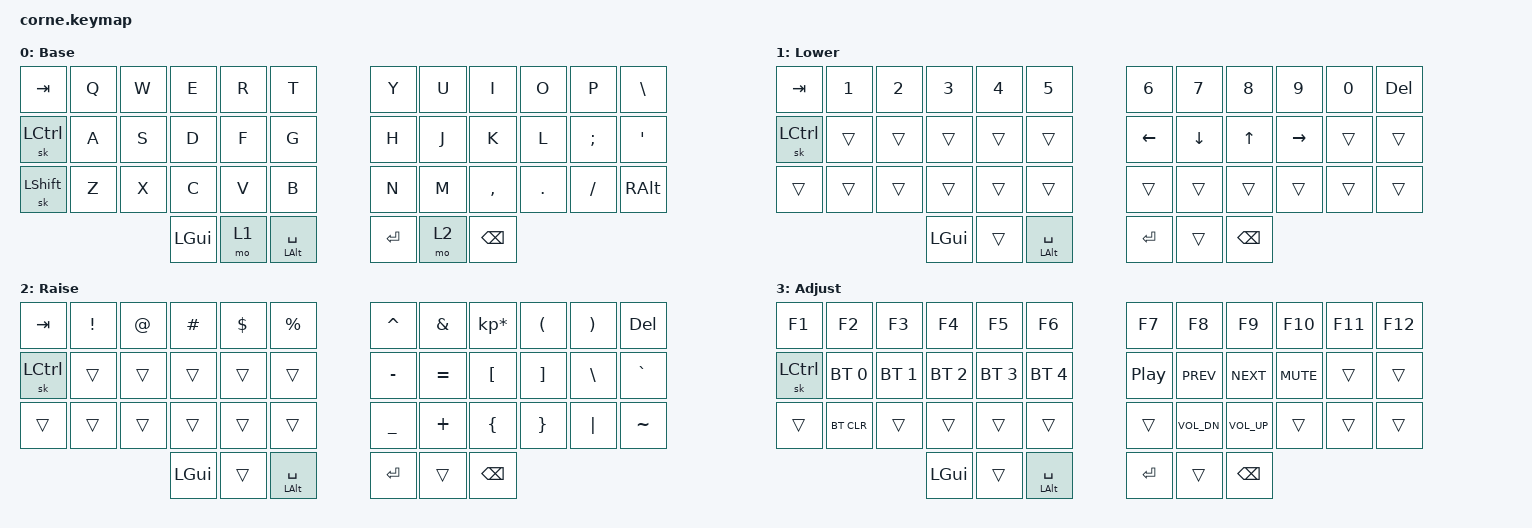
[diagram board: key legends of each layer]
/*
 * Copyright (c) 2020 The ZMK Contributors
 *
 * SPDX-License-Identifier: MIT
 */

#include <behaviors.dtsi>
#include <dt-bindings/zmk/keys.h>
#include <dt-bindings/zmk/bt.h>

/ {
        combos {
                compatible = "zmk,combos";
                timeout-ms = <50>;

                // Left side combos
                combo_lpar {
                        timeout-ms = <50>;
                        key-positions = <4 5>; // R + T
                        bindings = <&kp LPAR>;
                };

                combo_lbkt {
                        timeout-ms = <50>;
                        key-positions = <16 17>; // F + G
                        bindings = <&kp LBKT>;
                };

                combo_lbrace {
                        timeout-ms = <50>;
                        key-positions = <28 29>; // V + B
                        bindings = <&kp LBRC>;
                };

                // Right side combos
                combo_rpar {
                        timeout-ms = <50>;
                        key-positions = <6 7>; // Y + U
                        bindings = <&kp RPAR>;
                };

                combo_rbkt {
                        timeout-ms = <50>;
                        key-positions = <18 19>; // H + J
                        bindings = <&kp RBKT>;
                };

                combo_rbrace {
                        timeout-ms = <50>;
                        key-positions = <30 31>; // N + M
                        bindings = <&kp RBRC>;
                };

                combo_esc {
                        timeout-ms = <50>;
                        key-positions = <19 20>; // J + K
                        bindings = <&kp ESC>;
                };
        };

        keymap {
                compatible = "zmk,keymap";

                default_layer {
// -----------------------------------------------------------------------------------------
// |  TAB |  Q  |  W  |  E  |  R  |  T  |   |  Y  |  U   |  I  |  O  |  P  |  \   |
// | SK C |  A  |  S  |  D  |  F  |  G  |   |  H  |  J   |  K  |  L  |  ;  |  '   |
// | SHFT |  Z  |  X  |  C  |  V  |  B  |   |  N  |  M   |  ,  |  .  |  /  | RALT |
//                    | GUI | LWR | S/ALT |   | ENT | RSE  | BKSP|
                        display-name = "Base";
                        bindings = <
   &kp TAB   &kp Q &kp W &kp E &kp R &kp T   &kp Y &kp U  &kp I     &kp O   &kp P    &kp BSLH
   &sk LCTRL &kp A &kp S &kp D &kp F &kp G   &kp H &kp J  &kp K     &kp L   &kp SEMI &kp SQT
   &sk LSHFT &kp Z &kp X &kp C &kp V &kp B   &kp N &kp M  &kp COMMA &kp DOT &kp FSLH &kp RALT
             &kp LGUI &mo 1 &mt LALT SPACE   &kp RET &mo 2 &kp BSPC
                        >;
                };

                lower_layer {
// -----------------------------------------------------------------------------------------
// |  TAB |  1  |  2  |  3  |  4  |  5  |   |  6  |  7  |  8  |  9  |  0  | DEL  |
// | SK C |     |     |     |     |     |   | LFT | DWN |  UP | RGT |     |      |
// | SHFT |     |     |     |     |     |   |     |     |     |     |     |      |
//                    | GUI |     | S/ALT |   | ENT |     | BKSP|
                        display-name = "Lower";
                        bindings = <
   &kp TAB   &kp N1 &kp N2 &kp N3 &kp N4 &kp N5   &kp N6   &kp N7   &kp N8 &kp N9    &kp N0 &kp DEL
   &sk LCTRL &trans &trans &trans &trans &trans   &kp LEFT &kp DOWN &kp UP &kp RIGHT &trans &trans
   &trans    &trans &trans &trans &trans &trans   &trans   &trans   &trans &trans    &trans &trans
                          &kp LGUI &trans &mt LALT SPACE   &kp RET  &trans &kp BSPC
                        >;
                };

                raise_layer {
// -----------------------------------------------------------------------------------------
// |  TAB |  !  |  @  |  #  |  $  |  %  |   |  ^  |  &  |  * |  (  |  )  | DEL  |
// | SK C |     |     |     |     |     |   |  -  |  =  |  [  |  ]  |  \  |  `   |
// | SHFT |     |     |     |     |     |   |  _  |  +  |  {  |  }  | "|" |  ~   |
//                    | GUI |     | S/ALT |   | ENT |     | BKSP|
                        display-name = "Raise";
                        bindings = <
   &kp  TAB  &kp EXCL &kp AT &kp HASH &kp DLLR &kp PRCNT   &kp CARET &kp AMPS  &kp KP_MULTIPLY &kp LPAR &kp RPAR &kp DEL
   &sk LCTRL &trans   &trans &trans   &trans   &trans      &kp MINUS &kp EQUAL &kp LBKT        &kp RBKT &kp BSLH &kp GRAVE
   &trans    &trans   &trans &trans   &trans   &trans      &kp UNDER &kp PLUS  &kp LBRC        &kp RBRC &kp PIPE &kp TILDE
                             &kp LGUI &trans   &mt LALT SPACE   &kp RET   &trans    &kp BSPC
                        >;
                };

                adjust_layer {
// -----------------------------------------------------------------------------------------
// |  F1  |  F2 |  F3 |  F4 |  F5 |  F6 |   |  F7 |  F8 |  F9 | F10 | F11 | F12  |
// | SK C | BT1 | BT2 | BT3 | BT4 | BT5 |   | P/P | PREV| NEXT| MUTE|     |      |
// | SHFT |BTCLR|     |     |     |     |   |     | VOL-| VOL+|     |     |      |
//                    | GUI |     | S/ALT |   | ENT |     | BKSP|
                        display-name = "Adjust";
                        bindings = <
   &kp F1    &kp F2       &kp F3       &kp F4       &kp F5       &kp F6         &kp F7   &kp F8       &kp F9       &kp F10    &kp F11  &kp F12
   &sk LCTRL &bt BT_SEL 0 &bt BT_SEL 1 &bt BT_SEL 2 &bt BT_SEL 3 &bt BT_SEL 4   &kp C_PP &kp C_PREV   &kp C_NEXT   &kp C_MUTE &trans   &trans
   &trans    &bt BT_CLR   &trans       &trans       &trans       &trans         &trans   &kp C_VOL_DN &kp C_VOL_UP &trans     &trans   &trans
                                       &kp LGUI     &trans       &mt LALT SPACE &kp RET  &trans       &kp BSPC
                        >;
                };
        };

        conditional_layers {
                compatible = "zmk,conditional-layers";
                tri_layer {
                        if-layers = <1 2>;
                        then-layer = <3>;
                };
        };
};
